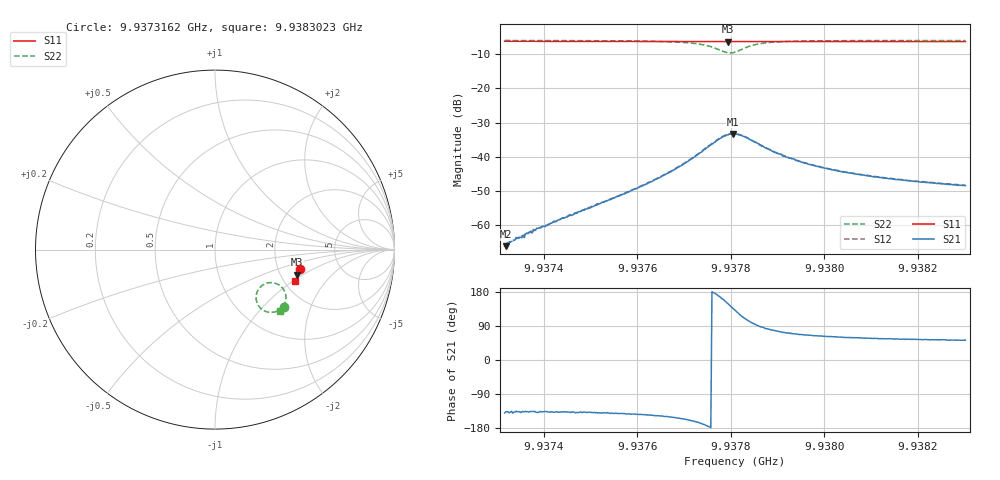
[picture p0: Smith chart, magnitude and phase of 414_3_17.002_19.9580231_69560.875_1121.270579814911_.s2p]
#  HZ  S  RI  R  50.00
! Rohde & Schwarz Vector Network Analyzer
! Rohde-Schwarz,ZNB20-2Port,1311601062101988,3.16
! Created: UTC 3/20/2024, 11:10:41 PM
! freq[Hz]  re:S11  im:S11  re:S21  im:S21  re:S12  im:S12  re:S22  im:S22
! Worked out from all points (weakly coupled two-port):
!   401 points, 9.9373162 GHz to 9.9383023 GHz, reference 50 ohm
!   highest |S21| = -33.30 dB at 9.9378043 GHz (marker M1); lowest = -66.1 dB at 9.9373186 GHz (marker M2)
!   lowest |S11| = -6.4 dB at 9.9377944 GHz (marker M3), VSWR 2.84, Z = 123 - j44.7 ohm
!   |S11| at or under -10 dB: nowhere
!   |S22| runs from -9.7 to -6.1 dB; largest |S21 - S12| = 0.00096
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9.93731618e9  0.471 -0.1095  -0.000381 -0.000321  -0.000379 -0.000356  0.3831 -0.3179
9.93731865e9  0.4709 -0.1097  -0.000363 -0.00034  -0.000374 -0.000343  0.3827 -0.318
9.9373359e9  0.4705 -0.1109  -0.000446 -0.000409  -0.000446 -0.000415  0.3815 -0.3193
9.93735316e9  0.4701 -0.1119  -0.00048 -0.000455  -0.000526 -0.000479  0.3803 -0.3205
9.93736548e9  0.4698 -0.1128  -0.000551 -0.000527  -0.000545 -0.00053  0.3793 -0.3214
9.93738274e9  0.4696 -0.1143  -0.000642 -0.000593  -0.000629 -0.00058  0.3777 -0.3229
9.93748135e9  0.4674 -0.1206  -0.00123 -0.00107  -0.00125 -0.00109  0.3677 -0.3307
9.93756764e9  0.4656 -0.1265  -0.00217 -0.00177  -0.00223 -0.00175  0.3553 -0.3388
9.93764652e9  0.4636 -0.1318  -0.00415 -0.00267  -0.00426 -0.00265  0.3345 -0.3468
9.93769583e9  0.462 -0.135  -0.00685 -0.00321  -0.00705 -0.00311  0.3101 -0.3501
9.93774267e9  0.4601 -0.1382  -0.0126 -0.0023  -0.0127 -0.00196  0.2658 -0.3361
9.93777718e9  0.4588 -0.1396  -0.018 0.00437  -0.0183 0.00489  0.2294 -0.2769
9.93779444e9  0.4579 -0.14  -0.0179 0.011  -0.018 0.0118  0.2401 -0.2252
9.9378043e9  0.458 -0.1402  -0.0158 0.0148  -0.0155 0.0154  0.2619 -0.2002
9.93780923e9  0.4581 -0.1403  -0.0141 0.0161  -0.0137 0.017  0.2764 -0.1916
9.93782895e9  0.4582 -0.1411  -0.00696 0.0185  -0.00652 0.0189  0.3345 -0.1868
9.93786347e9  0.4585 -0.1437  0.000605 0.0149  0.000712 0.0149  0.3856 -0.2276
9.93792017e9  0.4575 -0.1478  0.00308 0.00937  0.00344 0.0095  0.3951 -0.2764
9.9379744e9  0.4563 -0.1517  0.00323 0.00686  0.00337 0.00686  0.3901 -0.2985
9.93804096e9  0.4545 -0.1561  0.00297 0.00519  0.00314 0.00521  0.3827 -0.3141
9.93813957e9  0.4518 -0.1626  0.00268 0.00398  0.00279 0.00397  0.3733 -0.3278
9.93830228e9  0.4473 -0.173  0.00232 0.00301  0.00243 0.00301  0.3607 -0.3423
